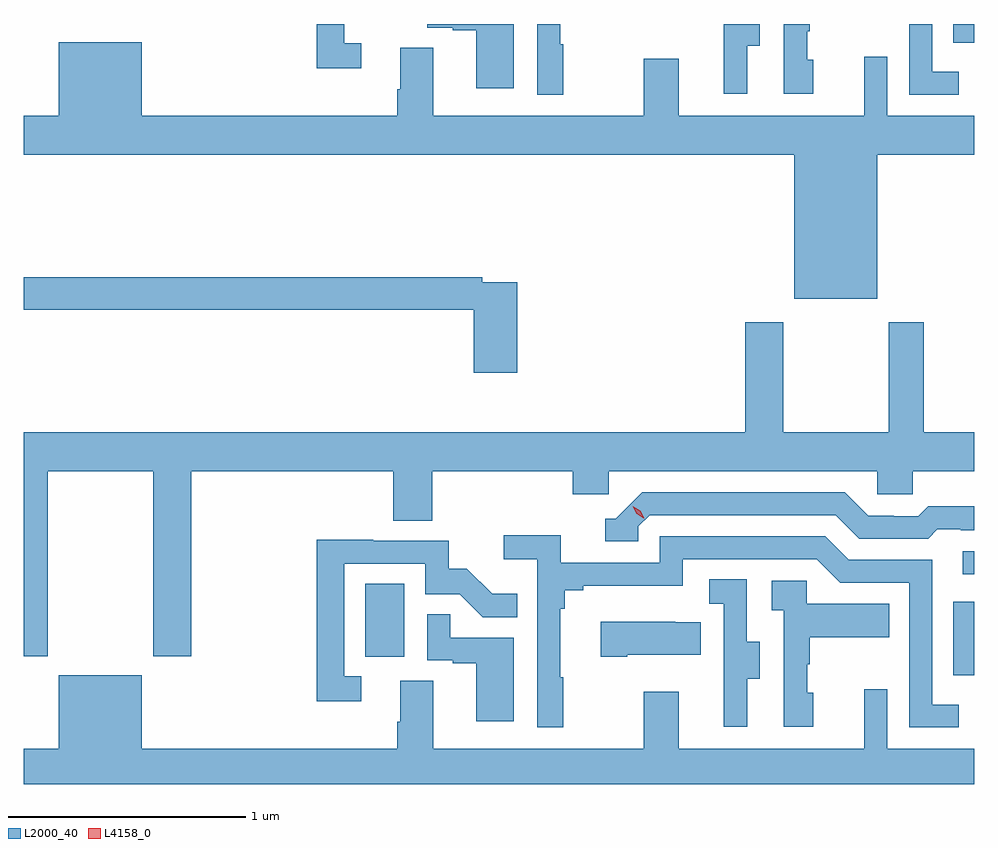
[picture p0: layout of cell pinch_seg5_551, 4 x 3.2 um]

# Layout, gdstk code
import gdstk
lib = gdstk.Library(unit=1e-6, precision=1e-09)
def R(c, l, rs):  # rectangles x0, y0, x1, y1
    for r in rs: c.add(gdstk.rectangle(r[:2], r[2:], *l))
def P(c, l, *ps):  # polygons
    for p in ps: c.add(gdstk.Polygon(p, *l))
L2000_40 = (2000, 40)
L4158_0 = (4158, 0)

pinch_seg5_551 = lib.new_cell('pinch_seg5_551')
R(pinch_seg5_551, L2000_40, [(1004.07,833.256,1004.157,833.566), (1001.594,833.334,1001.758,833.641), (1004.109,833.682,1004.157,833.778), (1004.07,835.92,1004.157,835.998)])
P(pinch_seg5_551, L2000_40, [(1003.48,835.848),(1003.455,835.848),(1003.455,835.967),(1003.465,835.967),(1003.465,835.998),(1003.356,835.998),(1003.356,835.704),(1003.48,835.704)],
  [(1003.201,835.906),(1003.255,835.906),(1003.255,835.998),(1003.104,835.998),(1003.104,835.917),(1003.103,835.917),(1003.103,835.704),(1003.201,835.704)],
  [(1001.578,835.917),(1001.505,835.917),(1001.505,835.998),(1001.389,835.998),(1001.389,835.812),(1001.578,835.812)],
  [(1004.093,835.797),(1003.98,835.797),(1003.98,835.998),(1003.884,835.998),(1003.884,835.701),(1004.093,835.701)],
  [(1002.427,835.913),(1002.415,835.913),(1002.415,835.998),(1002.318,835.998),(1002.318,835.701),(1002.427,835.701)],
  [(1002.22,835.998),(1001.856,835.998),(1001.856,835.983),(1001.963,835.983),(1001.963,835.971),(1002.062,835.971),(1002.062,835.728),(1002.22,835.728)],
  [(1003.75,835.448),(1004.157,835.448),(1004.157,835.612),(1003.791,835.612),(1003.791,835.861),(1003.694,835.861),(1003.694,835.612),(1002.913,835.612),(1002.913,835.852),(1002.766,835.852),(1002.766,835.612),(1001.881,835.612),(1001.881,835.898),(1001.741,835.898),(1001.741,835.724),(1001.729,835.724),(1001.729,835.612),(1000.654,835.612),(1000.654,835.921),(1000.304,835.921),(1000.304,835.612),(1000.157,835.612),(1000.157,835.448),(1003.4,835.448),(1003.4,834.842),(1003.75,834.842)],
  [(1002.233,834.912),(1002.086,834.912),(1002.086,834.932),(1000.157,834.932),(1000.157,834.796),(1002.05,834.796),(1002.05,834.531),(1002.233,834.531)],
  [(1000.157,833.337),(1000.257,833.337),(1000.257,834.116),(1000.702,834.116),(1000.702,833.337),(1000.862,833.337),(1000.862,834.116),(1001.711,834.116),(1001.711,833.908),(1001.876,833.908),(1001.876,834.116),(1002.467,834.116),(1002.467,834.018),(1002.618,834.018),(1002.618,834.116),(1003.749,834.116),(1003.749,834.018),(1003.899,834.018),(1003.899,834.116),(1004.157,834.116),(1004.157,834.28),(1003.945,834.28),(1003.945,834.742),(1003.798,834.742),(1003.798,834.28),(1003.353,834.28),(1003.353,834.742),(1003.193,834.742),(1003.193,834.28),(1000.157,834.28)],
  [(1002.744,833.883),(1002.792,833.931),(1003.575,833.931),(1003.674,833.832),(1003.963,833.832),(1004.002,833.871),(1004.101,833.871),(1004.101,833.868),(1004.157,833.868),(1004.157,833.968),(1003.963,833.968),(1003.921,833.925),(1003.818,833.925),(1003.818,833.928),(1003.711,833.928),(1003.612,834.027),(1002.759,834.027),(1002.648,833.916),(1002.605,833.916),(1002.605,833.82),(1002.744,833.82)],
  [(1002.427,833.249),(1002.415,833.249),(1002.415,833.537),(1002.434,833.537),(1002.434,833.614),(1002.511,833.614),(1002.511,833.633),(1002.93,833.633),(1002.93,833.745),(1003.494,833.745),(1003.593,833.646),(1003.884,833.646),(1003.884,833.037),(1004.093,833.037),(1004.093,833.133),(1003.98,833.133),(1003.98,833.742),(1003.63,833.742),(1003.531,833.841),(1002.834,833.841),(1002.834,833.73),(1002.416,833.73),(1002.416,833.846),(1002.177,833.846),(1002.177,833.744),(1002.318,833.744),(1002.318,833.037),(1002.427,833.037)],
  [(1001.578,833.253),(1001.505,833.253),(1001.505,833.727),(1001.847,833.727),(1001.847,833.598),(1001.991,833.598),(1002.089,833.5),(1002.233,833.5),(1002.233,833.599),(1002.129,833.599),(1002.022,833.706),(1001.946,833.706),(1001.946,833.823),(1001.627,833.823),(1001.627,833.828),(1001.389,833.828),(1001.389,833.148),(1001.578,833.148)],
  [(1003.201,833.242),(1003.255,833.242),(1003.255,833.397),(1003.2,833.397),(1003.2,833.66),(1003.041,833.66),(1003.041,833.557),(1003.104,833.557),(1003.104,833.253),(1003.103,833.253),(1003.103,833.04),(1003.201,833.04)],
  [(1003.48,833.184),(1003.455,833.184),(1003.455,833.303),(1003.465,833.303),(1003.465,833.417),(1003.799,833.417),(1003.799,833.557),(1003.452,833.557),(1003.452,833.655),(1003.305,833.655),(1003.305,833.531),(1003.356,833.531),(1003.356,833.04),(1003.48,833.04)],
  [(1002.22,833.415),(1001.951,833.415),(1001.951,833.513),(1001.856,833.513),(1001.856,833.319),(1001.963,833.319),(1001.963,833.307),(1002.062,833.307),(1002.062,833.064),(1002.22,833.064)],
  [(1002.697,833.342),(1003.007,833.342),(1003.007,833.479),(1002.899,833.479),(1002.899,833.482),(1002.585,833.482),(1002.585,833.335),(1002.697,833.335)],
  [(1004.157,832.948),(1003.791,832.948),(1003.791,833.197),(1003.694,833.197),(1003.694,832.948),(1002.913,832.948),(1002.913,833.188),(1002.766,833.188),(1002.766,832.948),(1001.881,832.948),(1001.881,833.234),(1001.741,833.234),(1001.741,833.06),(1001.729,833.06),(1001.729,832.948),(1000.654,832.948),(1000.654,833.257),(1000.304,833.257),(1000.304,832.948),(1000.157,832.948),(1000.157,832.799),(1004.157,832.799)])
P(pinch_seg5_551, L4158_0, [(1002.767,833.917),(1002.737,833.936),(1002.721,833.969),(1002.721,833.969),(1002.721,833.969),(1002.752,833.95),(1002.768,833.917),(1002.768,833.917)])

lib.write_gds('pinch_seg5_551.gds')
